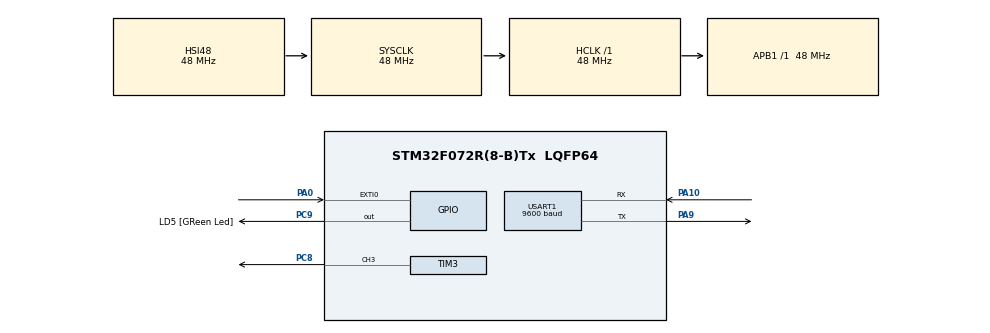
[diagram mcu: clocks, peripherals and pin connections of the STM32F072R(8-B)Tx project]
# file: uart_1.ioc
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Dma.Request0=USART1_RX
Dma.Request1=USART1_TX
Dma.USART1_RX.0.Direction=DMA_PERIPH_TO_MEMORY
Dma.USART1_RX.0.Instance=DMA1_Channel3
Dma.USART1_RX.0.MemDataAlignment=DMA_MDATAALIGN_BYTE
Dma.USART1_RX.0.MemInc=DMA_MINC_ENABLE
Dma.USART1_RX.0.Mode=DMA_CIRCULAR
Dma.USART1_RX.0.PeriphDataAlignment=DMA_PDATAALIGN_BYTE
Dma.USART1_RX.0.PeriphInc=DMA_PINC_DISABLE
Dma.USART1_RX.0.Priority=DMA_PRIORITY_LOW
Dma.USART1_TX.1.Direction=DMA_MEMORY_TO_PERIPH
Dma.USART1_TX.1.Instance=DMA1_Channel2
Dma.USART1_TX.1.MemDataAlignment=DMA_MDATAALIGN_BYTE
Dma.USART1_TX.1.MemInc=DMA_MINC_ENABLE
Dma.USART1_TX.1.Mode=DMA_NORMAL
Dma.USART1_TX.1.PeriphDataAlignment=DMA_PDATAALIGN_BYTE
Dma.USART1_TX.1.PeriphInc=DMA_PINC_DISABLE
Dma.USART1_TX.1.Priority=DMA_PRIORITY_LOW
Mcu.Family=STM32F0
Mcu.Name=STM32F072R(8-B)Tx
Mcu.Package=LQFP64
NVIC.DMA1_Channel2_3_IRQn=true\:0\:0\:false\:false\:true\:false\:true\:true
NVIC.EXTI0_1_IRQn=true\:0\:0\:false\:false\:true\:true\:true\:true
NVIC.TIM16_IRQn=true\:0\:0\:false\:false\:true\:true\:true\:true
NVIC.TIM3_IRQn=true\:0\:0\:false\:false\:true\:true\:true\:true
NVIC.USART1_IRQn=true\:0\:0\:false\:false\:true\:true\:true\:true
PA0.Signal=GPXTI0
PA10.Mode=Asynchronous
PA10.Signal=USART1_RX
PA13.GPIO_Label=SWDIO
PA13.Mode=Serial_Wire
PA13.Signal=SYS_SWDIO
PA14.GPIO_Label=SWCLK
PA14.Mode=Serial_Wire
PA14.Signal=SYS_SWCLK
PA9.Mode=Asynchronous
PA9.Signal=USART1_TX
PC8.Signal=S_TIM3_CH3
PC9.GPIO_Label=LD5 [GReen Led]
PC9.Signal=GPIO_Output
ProjectManager.HeapSize=0x200
ProjectManager.StackSize=0x400
ProjectManager.TargetToolchain=STM32CubeIDE
RCC.AHBFreq_Value=48000000
RCC.APB1Freq_Value=48000000
RCC.APB1TimFreq_Value=48000000
RCC.HCLKFreq_Value=48000000
RCC.PLLMUL=RCC_PLL_MUL6
RCC.PLLSourceVirtual=RCC_PLLSOURCE_HSI48
RCC.SYSCLKFreq_VALUE=48000000
RCC.SYSCLKSource=RCC_SYSCLKSOURCE_HSI48
SH.S_TIM3_CH3.0=TIM3_CH3,PWM Generation3 CH3
TIM16.Period=999
TIM16.Prescaler=47999
TIM16.RepetitionCounter=1
TIM3.Channel-PWM\ Generation3\ CH3=TIM_CHANNEL_3
TIM3.Period=999
TIM3.Prescaler=199
USART1.BaudRate=9600
USART1.VirtualMode-Asynchronous=VM_ASYNC
VP_TIM16_VS_ClockSourceINT.Mode=Enable_Timer
VP_TIM3_VS_ClockSourceINT.Mode=Internal
board=STM32F072B-DISCO

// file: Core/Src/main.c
/* USER CODE BEGIN Header */
/**
 ******************************************************************************
 * @file           : main.c
 * @brief          : Main program body
 ******************************************************************************
 * @attention
 *
 * Copyright (c) 2024 STMicroelectronics.
 * All rights reserved.
 *
 * This software is licensed under terms that can be found in the LICENSE file
 * in the root directory of this software component.
 * If no LICENSE file comes with this software, it is provided AS-IS.
 *
 ******************************************************************************
 */
/* USER CODE END Header */
#include "main.h"
#include "dma.h"
#include "tim.h"
#include "usart.h"
#include "gpio.h"

/* USER CODE BEGIN Includes */
#include <stdbool.h>
#include <stdlib.h>
#include <string.h>
#include <stdio.h>
/* USER CODE END Includes */

/* USER CODE BEGIN PD */
#define PWM_START_PULSE 0
#define PWM_STOP_PULSE 1000
#define LD5_ON "ld5_on\r\n"
#define LD5_OFF "ld5_off\r\n"
#define PWM_LD4_ON "pwm_ld4_on\r\n"
#define PWM_LD4_OFF "pwm_ld4_off\r\n"
#define BUFF_SIZE 20
#define RX_DMA_SIZE 256
#define TX_DMA_SIZE 256
#define FINAL_BUFF_SIZE 1024
#define START_BUFF_SIZE 1024
/* USER CODE END PD */

/* USER CODE BEGIN PV */
char rx_dma[RX_DMA_SIZE];
char tx_dma[TX_DMA_SIZE];
char final_buff[FINAL_BUFF_SIZE];
char start_buff[START_BUFF_SIZE];
/* USER CODE END PV */

void SystemClock_Config(void);

int main(void)
{

  /* USER CODE BEGIN 1 */
	uint8_t counter = 0;
  /* USER CODE END 1 */

  /* MCU Configuration--------------------------------------------------------*/

  /* Reset of all peripherals, Initializes the Flash interface and the Systick. */
  HAL_Init();

  /* Configure the system clock */
  SystemClock_Config();

  /* Initialize all configured peripherals */
  MX_GPIO_Init();
  MX_DMA_Init();
  MX_TIM16_Init();
  MX_TIM3_Init();
  MX_USART1_UART_Init();
  /* USER CODE BEGIN 2 */

	memset(start_buff, '1', START_BUFF_SIZE / 4);
	memset(start_buff + 256, '2', START_BUFF_SIZE / 4);
	memset(start_buff + 512, '3', START_BUFF_SIZE / 4);
	memset(start_buff + 768, '4', START_BUFF_SIZE / 4);

//	transmit_data_to_uart_dma(start_buff, START_BUFF_SIZE, tx_dma,
//	TX_DMA_SIZE);

  /* USER CODE END 2 */

  /* Infinite loop */
  /* USER CODE BEGIN WHILE */
	while (1) {
//		HAL_GPIO_WritePin(GPIOC, GPIO_PIN_9, GPIO_PIN_SET);
//		HAL_Delay(100);
//		HAL_GPIO_WritePin(GPIOC, GPIO_PIN_9, GPIO_PIN_RESET);
//		HAL_Delay(100);

		receive_data_from_uart_dma(rx_dma, RX_DMA_SIZE, final_buff,
		FINAL_BUFF_SIZE);
		counter++;
    /* USER CODE END WHILE */

	}
}

void SystemClock_Config(void)
{
  RCC_OscInitTypeDef RCC_OscInitStruct = {0};
  RCC_ClkInitTypeDef RCC_ClkInitStruct = {0};
  RCC_PeriphCLKInitTypeDef PeriphClkInit = {0};

  /** Initializes the RCC Oscillators according to the specified parameters
  * in the RCC_OscInitTypeDef structure.
  */
  RCC_OscInitStruct.OscillatorType = RCC_OSCILLATORTYPE_HSI48;
  RCC_OscInitStruct.HSI48State = RCC_HSI48_ON;
  RCC_OscInitStruct.PLL.PLLState = RCC_PLL_NONE;
  if (HAL_RCC_OscConfig(&RCC_OscInitStruct) != HAL_OK)
  {
    Error_Handler();
  }

  /** Initializes the CPU, AHB and APB buses clocks
  */
  RCC_ClkInitStruct.ClockType = RCC_CLOCKTYPE_HCLK|RCC_CLOCKTYPE_SYSCLK
                              |RCC_CLOCKTYPE_PCLK1;
  RCC_ClkInitStruct.SYSCLKSource = RCC_SYSCLKSOURCE_HSI48;
  RCC_ClkInitStruct.AHBCLKDivider = RCC_SYSCLK_DIV1;
  RCC_ClkInitStruct.APB1CLKDivider = RCC_HCLK_DIV1;

  if (HAL_RCC_ClockConfig(&RCC_ClkInitStruct, FLASH_LATENCY_1) != HAL_OK)
  {
    Error_Handler();
  }
  PeriphClkInit.PeriphClockSelection = RCC_PERIPHCLK_USART1;
  PeriphClkInit.Usart1ClockSelection = RCC_USART1CLKSOURCE_PCLK1;
  if (HAL_RCCEx_PeriphCLKConfig(&PeriphClkInit) != HAL_OK)
  {
    Error_Handler();
  }
}

void Error_Handler(void)
{
	__disable_irq();
	while (1) {
	}
}
